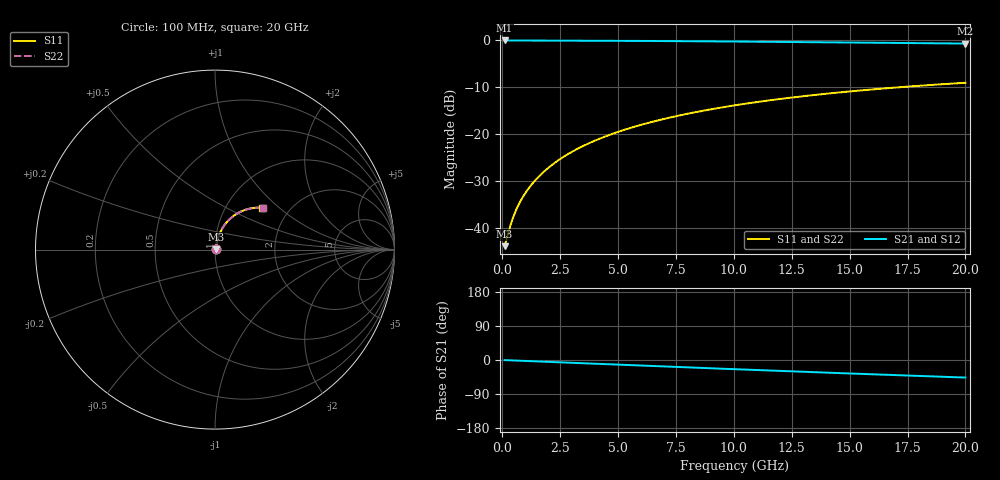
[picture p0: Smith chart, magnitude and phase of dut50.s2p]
! Touchstone file exported from HFSS 2026.1.0
!  File:  C:/ffzhzh/LocalFiles/Ansys_Project_Files/temp_train_TMRDL_50_1782880827_8056.aedt
!  Generated:  12:41:39 PM Jul  1, 2026
!  Design:  TMRDL
!  Project:  temp_train_TMRDL_50_1782880827_8056
! Variables:
!  h_bsmrdl = 2um
!  h_ox = 20um
!  h_rdl = 5um
!  h_sub = 80um
!  h_tmrdl = 2.26um
!  h_tsv = 80um
!  h_via = 3um
!  l_bsmrdl = 300um
!  l_sub = 1128.35um
!  l_tmrdl = 728.35um
!  m_sub = 200um
!  pitch = 35.79um
!  r_tsv = 6um
!  s_tmrdl = 10um
!  w_bsmrdl = 18um
!  w_sub = 500um
!  w_tmrdl = 20.09um
!  x_tsv_center1 = 738.395um
!  x_tsv_center2 = 1056.395um
!  x_tsv_center3 = 1804.835um
!  x_tsv_center4 = 2122.835um
!  x_tsv_center5 = 2871.275um
!  x_tsv_center6 = 3189.275um
# GHz S MA R 50.000000
! Terminal data exported
! Port[1] = TM_RDL1_1_T1
! Port[2] = TM_RDL1_1_T2
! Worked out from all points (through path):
!   200 points, 100 MHz to 20 GHz, reference 50 ohm
!   highest |S21| = -0.05 dB at 100 MHz (marker M1); lowest = -0.7 dB at 20 GHz (marker M2)
!   group delay of S21, straight-line fit = 6.45 ps
!   lowest |S11| = -43.9 dB at 100 MHz (marker M3), VSWR 1.01, Z = 50.6 + j0.25 ohm
!   |S11| at or under -10 dB: start of sweep to 17.18 GHz
!   |S22| runs from -43.9 to -9.1 dB; largest |S21 - S12| = 2.3e-15
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0.1  0.006415 22.6  0.9941 -0.3  0.9941 -0.3  0.006415 22.6
! Gamma 0 0 0 0
! Port Impedance 50 0 50 0
0.3  0.009638 48.6  0.9937 -0.8  0.9937 -0.8  0.009638 48.6
0.4  0.01161 54.9  0.9934 -1.0  0.9934 -1.0  0.01161 54.9
0.5  0.01363 59.1  0.9932 -1.3  0.9932 -1.3  0.01363 59.1
0.6  0.01565 62.1  0.9929 -1.5  0.9929 -1.5  0.01565 62.0
0.7  0.01766 64.3  0.9927 -1.8  0.9927 -1.8  0.01766 64.3
0.9  0.02168 67.6  0.9923 -2.3  0.9923 -2.3  0.02168 67.6
1.2  0.02771 70.7  0.9919 -3.0  0.9919 -3.0  0.02771 70.7
1.4  0.03176 72.1  0.9916 -3.5  0.9916 -3.5  0.03176 72.1
1.7  0.03787 73.5  0.9913 -4.2  0.9913 -4.2  0.03787 73.5
2.2  0.04814 74.7  0.9906 -5.5  0.9906 -5.5  0.04814 74.7
2.8  0.06053 75.1  0.9898 -6.9  0.9898 -6.9  0.06053 75.1
3.5  0.07498 74.8  0.9886 -8.6  0.9886 -8.6  0.07498 74.7
4.2  0.08937 74.0  0.9872 -10.3  0.9872 -10.3  0.08937 74.0
5  0.1057 72.8  0.9853 -12.3  0.9853 -12.3  0.1057 72.8
5.9  0.1238 71.2  0.9829 -14.5  0.9829 -14.5  0.1238 71.2
6.8  0.1416 69.4  0.9801 -16.6  0.9801 -16.6  0.1416 69.4
8.3  0.1705 66.3  0.975 -20.2  0.975 -20.2  0.1705 66.3
10.1  0.2037 62.5  0.9678 -24.4  0.9678 -24.4  0.2037 62.4
13.4  0.2599 55.3  0.953 -32.0  0.953 -32.0  0.2599 55.2
16.7  0.3096 48.2  0.9371 -39.3  0.9371 -39.3  0.3096 48.2
20  0.3523 41.4  0.9212 -46.4  0.9212 -46.4  0.3523 41.3
